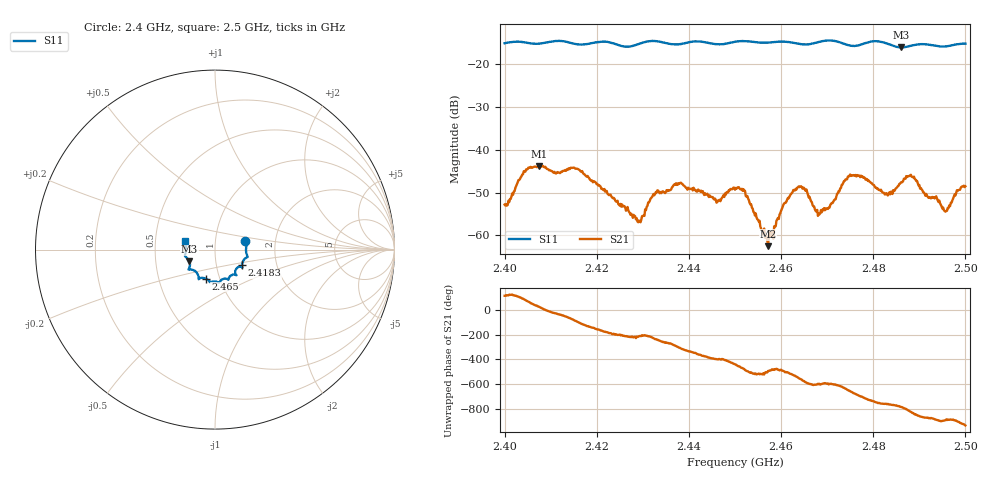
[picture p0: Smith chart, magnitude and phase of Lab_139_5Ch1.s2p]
# Hz S RI R 50
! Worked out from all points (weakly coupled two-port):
!   601 points, 2.4 GHz to 2.5 GHz, reference 50 ohm
!   highest |S21| = -43.76 dB at 2.4075 GHz (marker M1); lowest = -62.5 dB at 2.4572 GHz (marker M2)
!   lowest |S11| = -16.1 dB at 2.486 GHz (marker M3), VSWR 1.37, Z = 37.2 - j4.94 ohm
!   |S11| at or under -10 dB: start of sweep to end of sweep
!   S12 and S22 are empty: the file has one direction only
!   S11 on the Smith chart (normalised r, x): 2.4 GHz: 1.40, +0.13; 2.4183 GHz: 1.33, -0.24; 2.465 GHz: 0.86, -0.28; 2.5 GHz: 0.71, +0.07
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2.4e9  0.1689 0.0465  -0.000801 0.00215  0 0  0 0
2.404667e9  0.1766 0.0224  0.0018 0.00562  0 0  0 0
2.4075e9  0.1729 -0.0098  0.00603 0.00239  0 0  0 0
2.416667e9  0.1546 -0.0678  -0.00223 -0.00508  0 0  0 0
2.418333e9  0.1497 -0.087  -0.00345 -0.00315  0 0  0 0
2.429e9  0.112 -0.1287  -0.00113 0.00087  0 0  0 0
2.433333e9  0.1179 -0.141  -0.00148 0.00298  0 0  0 0
2.438167e9  0.0817 -0.1507  0.00266 0.00316  0 0  0 0
2.446333e9  0.0506 -0.1626  0.00198 -0.00163  0 0  0 0
2.45e9  0.0258 -0.1802  0.000699 -0.00334  0 0  0 0
2.452333e9  0.0207 -0.1843  -0.00178 -0.00228  0 0  0 0
2.457167e9  -0.0111 -0.1778  -0.000506 -0.000552  0 0  0 0
2.462333e9  -0.0328 -0.1754  -0.00291 -0.00112  0 0  0 0
2.465e9  -0.0525 -0.1613  -0.00298 0.00197  0 0  0 0
2.466667e9  -0.0713 -0.1571  -0.00128 0.0021  0 0  0 0
2.47e9  -0.0912 -0.1649  -0.00121 0.00167  0 0  0 0
2.475333e9  -0.1034 -0.1265  0.00255 0.00434  0 0  0 0
2.483333e9  -0.1411 -0.0964  0.00242 -0.00193  0 0  0 0
2.486e9  -0.1426 -0.0646  0.00205 -0.00361  0 0  0 0
2.4885e9  -0.1594 -0.0433  -0.00154 -0.00456  0 0  0 0
2.4955e9  -0.1602 0.01  -0.0019 -0.000381  0 0  0 0
2.5e9  -0.1667 0.0469  -0.00328 0.00181  0 0  0 0
